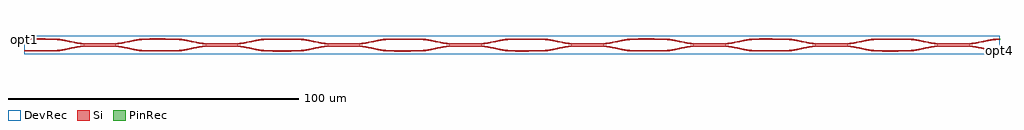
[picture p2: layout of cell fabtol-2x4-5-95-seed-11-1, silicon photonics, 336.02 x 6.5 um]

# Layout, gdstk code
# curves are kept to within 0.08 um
import gdstk
lib = gdstk.Library(unit=1e-6, precision=1e-09)
def R(c, l, rs):  # rectangles x0, y0, x1, y1
    for r in rs: c.add(gdstk.rectangle(r[:2], r[2:], *l))
def P(c, l, *ps):  # polygons
    for p in ps: c.add(gdstk.Polygon(p, *l))
Si = (1, 0)
PinRec = (1, 10)
DevRec = (68, 0)

layer_3_0_phase_sec_3_24 = lib.new_cell('layer-3_0_phase_sec_3$24')
P(layer_3_0_phase_sec_3_24, Si, [(4.231,-0.243),(0,-0.225),(0,0.225),(10,0.225),(10,-0.225)])

layer_3_0_phase_sec_2_24 = lib.new_cell('layer-3_0_phase_sec_2$24')
P(layer_3_0_phase_sec_2_24, Si, [(5.84,-0.236),(0,-0.225),(0,0.225),(10,0.225),(10,-0.225)])

layer_3_0_phase_sec_1_24 = lib.new_cell('layer-3_0_phase_sec_1$24')
P(layer_3_0_phase_sec_1_24, Si, [(3.842,-0.23),(0,-0.225),(0,0.225),(10,0.225),(10,-0.225)])

layer_3_0_phase_sec_0_24 = lib.new_cell('layer-3_0_phase_sec_0$24')
P(layer_3_0_phase_sec_0_24, Si, [(5.678,-0.245),(0,-0.225),(0,0.225),(10,0.225),(10,-0.225)])

layer_0_0_phase_sec_3_24 = lib.new_cell('layer-0_0_phase_sec_3$24')
P(layer_0_0_phase_sec_3_24, Si, [(3.148,-0.231),(0,-0.225),(0,0.225),(10,0.225),(10,-0.225)])

layer_0_0_phase_sec_1_24 = lib.new_cell('layer-0_0_phase_sec_1$24')
P(layer_0_0_phase_sec_1_24, Si, [(2.736,-0.228),(0,-0.225),(0,0.225),(10,0.225),(10,-0.225)])

dc_arm_down_24 = lib.new_cell('dc_arm_down$24')
R(dc_arm_down_24, Si, [(12,-0.55,20,-0.1)])
P(dc_arm_down_24, Si, [(32,-2.225),(30.861,-2.188),(29.344,-2.033),(22.966,-0.793),(21.481,-0.613),(20,-0.55),(20,-0.1),(21.139,-0.137),(22.656,-0.292),(29.034,-1.532),(30.519,-1.712),(32,-1.775)],
  [(0,-2.225),(0,-1.775),(1.481,-1.712),(2.966,-1.532),(9.344,-0.292),(10.861,-0.137),(12,-0.1),(12,-0.55),(10.519,-0.613),(9.034,-0.793),(2.656,-2.033),(1.139,-2.188)])

dc_arm_up_24 = lib.new_cell('dc_arm_up$24')
R(dc_arm_up_24, Si, [(12,0.1,20,0.55)])
P(dc_arm_up_24, Si, [(20,0.1),(20,0.55),(21.481,0.613),(22.966,0.793),(29.344,2.033),(30.861,2.188),(32,2.225),(32,1.775),(30.519,1.712),(29.034,1.532),(22.656,0.292),(21.139,0.137)],
  [(12,0.1),(10.861,0.137),(9.344,0.292),(2.966,1.532),(1.481,1.712),(0,1.775),(0,2.225),(1.139,2.188),(2.656,2.033),(9.034,0.793),(10.519,0.613),(12,0.55)])

dc_24 = lib.new_cell('dc$24')
dc_24.add(gdstk.Reference(dc_arm_down_24, (0,0)))
dc_24.add(gdstk.Reference(dc_arm_up_24, (0,0)))

layer_0_0_phase_sec_2_24 = lib.new_cell('layer-0_0_phase_sec_2$24')
P(layer_0_0_phase_sec_2_24, Si, [(1.311,-0.247),(0,-0.225),(0,0.225),(10,0.225),(10,-0.225)])

layer_1_0_phase_sec_0_24 = lib.new_cell('layer-1_0_phase_sec_0$24')
P(layer_1_0_phase_sec_0_24, Si, [(1.51,-0.229),(0,-0.225),(0,0.225),(10,0.225),(10,-0.225)])

layer_1_0_phase_sec_1_24 = lib.new_cell('layer-1_0_phase_sec_1$24')
P(layer_1_0_phase_sec_1_24, Si, [(4.791,-0.249),(0,-0.225),(0,0.225),(10,0.225),(10,-0.225)])

layer_0_0_phase_sec_0_24 = lib.new_cell('layer-0_0_phase_sec_0$24')
P(layer_0_0_phase_sec_0_24, Si, [(5.781,-0.243),(0,-0.225),(0,0.225),(10,0.225),(10,-0.225)])

layer_1_0_phase_sec_2_24 = lib.new_cell('layer-1_0_phase_sec_2$24')
P(layer_1_0_phase_sec_2_24, Si, [(1.445,-0.236),(0,-0.225),(0,0.225),(10,0.225),(10,-0.225)])

layer_1_0_phase_sec_3_24 = lib.new_cell('layer-1_0_phase_sec_3$24')
P(layer_1_0_phase_sec_3_24, Si, [(1.431,-0.243),(0,-0.225),(0,0.225),(10,0.225),(10,-0.225)])

layer_2_0_phase_sec_0_24 = lib.new_cell('layer-2_0_phase_sec_0$24')
P(layer_2_0_phase_sec_0_24, Si, [(6.23,-0.231),(0,-0.225),(0,0.225),(10,0.225),(10,-0.225)])

layer_2_0_phase_sec_1_24 = lib.new_cell('layer-2_0_phase_sec_1$24')
P(layer_2_0_phase_sec_1_24, Si, [(2.29,-0.249),(0,-0.225),(0,0.225),(10,0.225),(10,-0.225)])

layer_2_0_phase_sec_2_24 = lib.new_cell('layer-2_0_phase_sec_2$24')
P(layer_2_0_phase_sec_2_24, Si, [(5.608,-0.246),(0,-0.225),(0,0.225),(10,0.225),(10,-0.225)])

layer_2_0_phase_sec_3_24 = lib.new_cell('layer-2_0_phase_sec_3$24')
P(layer_2_0_phase_sec_3_24, Si, [(5.318,-0.232),(0,-0.225),(0,0.225),(10,0.225),(10,-0.225)])

fabtol_2x4_5_95_seed_11_ = lib.new_cell('fabtol-2x4-5-95-seed-11-1')
R(fabtol_2x4_5_95_seed_11_, DevRec, [(0,-1,336,5.496)])
fabtol_2x4_5_95_seed_11_.add(gdstk.FlexPath([(335.99,0.249),(336.01,0.249)], 0.45, ends="flush", simple_path=True, layer=1, datatype=10))  # PinRec
fabtol_2x4_5_95_seed_11_.add(gdstk.FlexPath([(335.99,4.249),(336.01,4.249)], 0.45, ends="flush", simple_path=True, layer=1, datatype=10))  # PinRec
fabtol_2x4_5_95_seed_11_.add(gdstk.FlexPath([(0.01,4.249),(-0.01,4.249)], 0.45, ends="flush", simple_path=True, layer=1, datatype=10))  # PinRec
fabtol_2x4_5_95_seed_11_.add(gdstk.Reference(layer_3_0_phase_sec_3_24, (294,0.249)))
fabtol_2x4_5_95_seed_11_.add(gdstk.Reference(layer_3_0_phase_sec_2_24, (294,4.249)))
fabtol_2x4_5_95_seed_11_.add(gdstk.Reference(layer_3_0_phase_sec_1_24, (252,0.249)))
fabtol_2x4_5_95_seed_11_.add(gdstk.Reference(layer_3_0_phase_sec_0_24, (252,4.249)))
fabtol_2x4_5_95_seed_11_.add(gdstk.Reference(layer_0_0_phase_sec_3_24, (42,0.249)))
fabtol_2x4_5_95_seed_11_.add(gdstk.Reference(layer_0_0_phase_sec_1_24, (0,0.249)))
fabtol_2x4_5_95_seed_11_.add(gdstk.Reference(dc_24, (10,2.249)))
fabtol_2x4_5_95_seed_11_.add(gdstk.Reference(dc_24, (52,2.249)))
fabtol_2x4_5_95_seed_11_.add(gdstk.Reference(dc_24, (94,2.249)))
fabtol_2x4_5_95_seed_11_.add(gdstk.Reference(dc_24, (136,2.249)))
fabtol_2x4_5_95_seed_11_.add(gdstk.Reference(dc_24, (178,2.249)))
fabtol_2x4_5_95_seed_11_.add(gdstk.Reference(dc_24, (220,2.249)))
fabtol_2x4_5_95_seed_11_.add(gdstk.Reference(dc_24, (262,2.249)))
fabtol_2x4_5_95_seed_11_.add(gdstk.Reference(dc_24, (304,2.249)))
fabtol_2x4_5_95_seed_11_.add(gdstk.Reference(layer_0_0_phase_sec_2_24, (42,4.249)))
fabtol_2x4_5_95_seed_11_.add(gdstk.Reference(layer_1_0_phase_sec_0_24, (84,4.249)))
fabtol_2x4_5_95_seed_11_.add(gdstk.Reference(layer_1_0_phase_sec_1_24, (84,0.249)))
fabtol_2x4_5_95_seed_11_.add(gdstk.Reference(layer_0_0_phase_sec_0_24, (0,4.249)))
fabtol_2x4_5_95_seed_11_.add(gdstk.Reference(layer_1_0_phase_sec_2_24, (126,4.249)))
fabtol_2x4_5_95_seed_11_.add(gdstk.Reference(layer_1_0_phase_sec_3_24, (126,0.249)))
fabtol_2x4_5_95_seed_11_.add(gdstk.Reference(layer_2_0_phase_sec_0_24, (168,4.249)))
fabtol_2x4_5_95_seed_11_.add(gdstk.Reference(layer_2_0_phase_sec_1_24, (168,0.249)))
fabtol_2x4_5_95_seed_11_.add(gdstk.Reference(layer_2_0_phase_sec_2_24, (210,4.249)))
fabtol_2x4_5_95_seed_11_.add(gdstk.Reference(layer_2_0_phase_sec_3_24, (210,0.249)))
fabtol_2x4_5_95_seed_11_.add(gdstk.Label('opt4', (336,0.249), layer=1, texttype=10))
fabtol_2x4_5_95_seed_11_.add(gdstk.Label('opt3', (336,4.249), layer=1, texttype=10))
fabtol_2x4_5_95_seed_11_.add(gdstk.Label('opt1', (0,4.249), layer=1, texttype=10))

lib.write_gds('fabtol-2x4-5-95-seed-11-1.gds')
